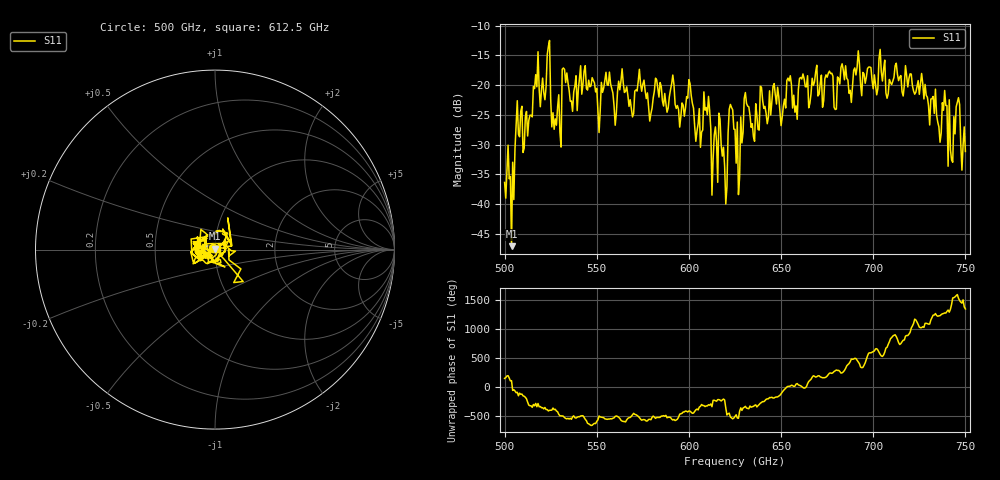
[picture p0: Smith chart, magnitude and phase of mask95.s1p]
!Created with skrf (http://scikit-rf.org).
# GHz S MA R 50.0
!freq magS11 angS11
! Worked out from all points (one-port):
!   401 points, 500 GHz to 750 GHz, reference 50 ohm
!   lowest |S11| = -47.1 dB at 503.8 GHz (marker M1), VSWR 1.01, Z = 49.9 + j0.433 ohm
!   |S11| at or under -10 dB: start of sweep to end of sweep
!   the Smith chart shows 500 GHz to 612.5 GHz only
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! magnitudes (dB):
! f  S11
! 500 GHz  -36.4
! 503.8 GHz  -47.1
! 507.5 GHz  -28.3
! 511.2 GHz  -25.4
! 516.9 GHz  -18.2
! 523.8 GHz  -13.5
! 526.9 GHz  -27.4
! 531.2 GHz  -17.3
! 532.5 GHz  -17.4
! 562.5 GHz  -20.8
! 593.8 GHz  -23.4
! 600 GHz  -19.1
! 605 GHz  -26.5
! 609.4 GHz  -23.8
! 619.4 GHz  -33.6
! 622.5 GHz  -23.3
! 625 GHz  -27.5
! 626.2 GHz  -26.2
! 631.2 GHz  -23.1
! 634.4 GHz  -26.5
! 656.2 GHz  -23.9
! 687.5 GHz  -20.9
! 718.8 GHz  -20.3
! 735.6 GHz  -27.0
! 738.8 GHz  -20.9
! 741.9 GHz  -30.8
! 745.6 GHz  -22.9
! 750 GHz  -31.2
